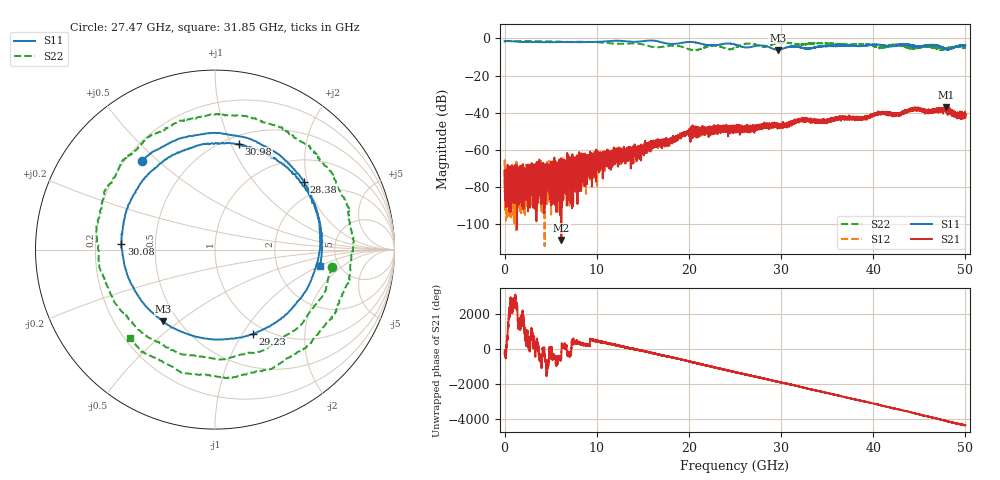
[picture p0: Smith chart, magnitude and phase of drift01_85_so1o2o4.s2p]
!Created with skrf (http://scikit-rf.org).
# Hz S RI R 50.0
!freq ReS11 ImS11 ReS21 ImS21 ReS12 ImS12 ReS22 ImS22
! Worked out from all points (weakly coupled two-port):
!   10001 points, 300 kHz to 50 GHz, reference 50 ohm
!   highest |S21| = -36.94 dB at 47.86 GHz (marker M1); lowest = -108.6 dB at 6.155 GHz (marker M2)
!   lowest |S11| = -6.1 dB at 29.65 GHz (marker M3), VSWR 2.95, Z = 20.8 - j22 ohm
!   |S11| at or under -10 dB: nowhere
!   |S22| runs from -6.4 to -1.3 dB; largest |S21 - S12| = 0.0042
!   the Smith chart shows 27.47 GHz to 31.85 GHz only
!   S11 on the Smith chart (normalised r, x): 27.47 GHz: 0.27, +0.44; 28.38 GHz: 1.53, +1.90; 29.23 GHz: 0.87, -1.12; 30.08 GHz: 0.31, +0.03; 30.98 GHz: 0.58, +1.07; 31.85 GHz: 3.62, -1.00
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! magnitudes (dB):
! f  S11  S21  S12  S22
! 300 kHz  -1.3  -71.0  -65.3  -2.1
! 340.3 MHz  -1.4  -70.2  -76.7  -1.4
! 6.155 GHz  -1.9  -108.6  -72.1  -1.8
! 8.335 GHz  -2.0  -66.6  -73.3  -1.8
! 16.67 GHz  -1.6  -56.4  -55.6  -4.8
! 18.62 GHz  -2.8  -55.1  -54.3  -3.9
! 20.36 GHz  -1.9  -48.6  -50.3  -6.2
! 22.62 GHz  -3.8  -49.8  -48.9  -3.8
! 25 GHz  -3.2  -49.5  -48.4  -5.0
! 27.47 GHz  -3.9  -46.8  -47.8  -3.6
! 28.38 GHz  -4.1  -47.7  -46.9  -4.2
! 29.23 GHz  -5.8  -47.0  -47.2  -3.0
! 29.65 GHz  -6.1  -46.1  -46.6  -2.5
! 30.08 GHz  -5.6  -47.7  -46.0  -2.3
! 30.98 GHz  -4.4  -46.4  -45.8  -2.5
! 31.85 GHz  -4.5  -45.0  -44.6  -3.3
! 33.34 GHz  -5.1  -44.2  -44.1  -2.6
! 41.67 GHz  -4.4  -40.3  -40.4  -4.0
! 44.5 GHz  -4.4  -37.6  -37.8  -5.2
! 46.51 GHz  -3.6  -39.0  -38.8  -4.7
! 47.86 GHz  -5.6  -36.9  -38.1  -5.2
! 50 GHz  -3.8  -42.5  -42.9  -5.3
